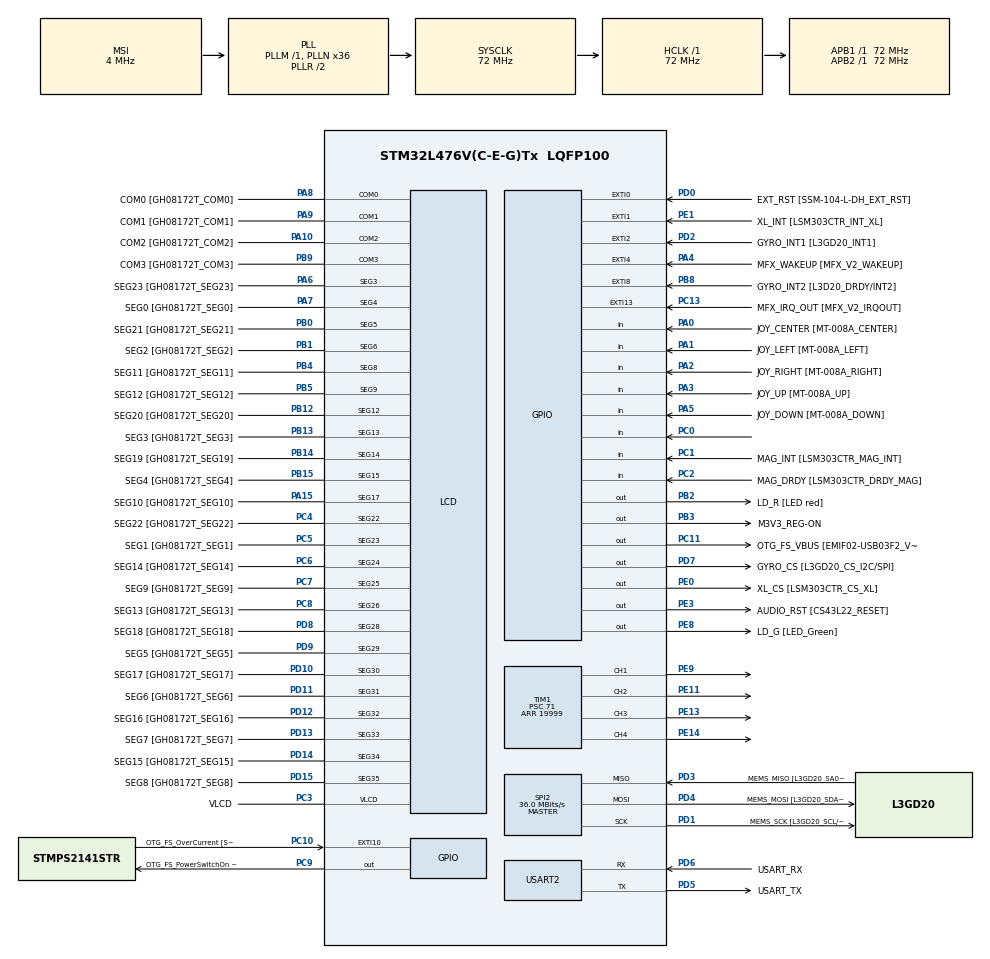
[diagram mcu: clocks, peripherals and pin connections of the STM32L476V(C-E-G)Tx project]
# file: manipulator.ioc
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Mcu.Family=STM32L4
Mcu.Name=STM32L476V(C-E-G)Tx
Mcu.Package=LQFP100
NVIC.PriorityGroup=NVIC_PRIORITYGROUP_4
PA0.GPIO_Label=JOY_CENTER [MT-008A_CENTER]
PA0.GPIO_Mode=GPIO_MODE_INPUT
PA0.GPIO_PuPd=GPIO_PULLDOWN
PA0.Signal=GPIO_Input
PA1.GPIO_Label=JOY_LEFT [MT-008A_LEFT]
PA1.GPIO_Mode=GPIO_MODE_INPUT
PA1.GPIO_PuPd=GPIO_PULLDOWN
PA1.Signal=GPIO_Input
PA10.GPIO_Label=COM2 [GH08172T_COM2]
PA10.GPIO_Mode=GPIO_MODE_AF_PP
PA10.GPIO_PuPd=GPIO_NOPULL
PA10.GPIO_Speed=GPIO_SPEED_FREQ_LOW
PA10.Mode=1/4 Duty Cycle
PA10.Signal=LCD_COM2
PA13\ (JTMS-SWDIO).GPIO_Label=SWDIO
PA13\ (JTMS-SWDIO).Mode=Serial_Wire
PA13\ (JTMS-SWDIO).Signal=SYS_JTMS-SWDIO
PA14\ (JTCK-SWCLK).GPIO_Label=SWCLK
PA14\ (JTCK-SWCLK).Mode=Serial_Wire
PA14\ (JTCK-SWCLK).Signal=SYS_JTCK-SWCLK
PA15\ (JTDI).GPIO_Label=SEG10 [GH08172T_SEG10]
PA15\ (JTDI).GPIO_Mode=GPIO_MODE_AF_PP
PA15\ (JTDI).GPIO_PuPd=GPIO_NOPULL
PA15\ (JTDI).GPIO_Speed=GPIO_SPEED_FREQ_LOW
PA15\ (JTDI).Mode=SEG17
PA15\ (JTDI).Signal=LCD_SEG17
PA2.GPIO_Label=JOY_RIGHT [MT-008A_RIGHT]
PA2.GPIO_Mode=GPIO_MODE_INPUT
PA2.GPIO_PuPd=GPIO_PULLDOWN
PA2.Signal=GPIO_Input
PA3.GPIO_Label=JOY_UP [MT-008A_UP]
PA3.GPIO_Mode=GPIO_MODE_INPUT
PA3.GPIO_PuPd=GPIO_PULLDOWN
PA3.Signal=GPIO_Input
PA4.GPIO_Label=MFX_WAKEUP [MFX_V2_WAKEUP]
PA4.GPIO_ModeDefaultEXTI=GPIO_MODE_EVT_RISING
PA4.GPIO_PuPd=GPIO_NOPULL
PA4.Signal=GPXTI4
PA5.GPIO_Label=JOY_DOWN [MT-008A_DOWN]
PA5.GPIO_Mode=GPIO_MODE_INPUT
PA5.GPIO_PuPd=GPIO_PULLDOWN
PA5.Signal=GPIO_Input
PA6.GPIO_Label=SEG23 [GH08172T_SEG23]
PA6.GPIO_Mode=GPIO_MODE_AF_PP
PA6.GPIO_PuPd=GPIO_NOPULL
PA6.GPIO_Speed=GPIO_SPEED_FREQ_LOW
PA6.Mode=SEG3
PA6.Signal=LCD_SEG3
PA7.GPIO_Label=SEG0 [GH08172T_SEG0]
PA7.GPIO_Mode=GPIO_MODE_AF_PP
PA7.GPIO_PuPd=GPIO_NOPULL
PA7.GPIO_Speed=GPIO_SPEED_FREQ_LOW
PA7.Mode=SEG4
PA7.Signal=LCD_SEG4
PA8.GPIO_Label=COM0 [GH08172T_COM0]
PA8.GPIO_Mode=GPIO_MODE_AF_PP
PA8.GPIO_PuPd=GPIO_NOPULL
PA8.GPIO_Speed=GPIO_SPEED_FREQ_LOW
PA8.Mode=1/4 Duty Cycle
PA8.Signal=LCD_COM0
PA9.GPIO_Label=COM1 [GH08172T_COM1]
PA9.GPIO_Mode=GPIO_MODE_AF_PP
PA9.GPIO_PuPd=GPIO_NOPULL
PA9.GPIO_Speed=GPIO_SPEED_FREQ_LOW
PA9.Mode=1/4 Duty Cycle
PA9.Signal=LCD_COM1
PB0.GPIO_Label=SEG21 [GH08172T_SEG21]
PB0.GPIO_Mode=GPIO_MODE_AF_PP
PB0.GPIO_PuPd=GPIO_NOPULL
PB0.GPIO_Speed=GPIO_SPEED_FREQ_LOW
PB0.Mode=SEG5
PB0.Signal=LCD_SEG5
PB1.GPIO_Label=SEG2 [GH08172T_SEG2]
PB1.GPIO_Mode=GPIO_MODE_AF_PP
PB1.GPIO_PuPd=GPIO_NOPULL
PB1.GPIO_Speed=GPIO_SPEED_FREQ_LOW
PB1.Mode=SEG6
PB1.Signal=LCD_SEG6
PB12.GPIO_Label=SEG20 [GH08172T_SEG20]
PB12.GPIO_Mode=GPIO_MODE_AF_PP
PB12.GPIO_PuPd=GPIO_NOPULL
PB12.GPIO_Speed=GPIO_SPEED_FREQ_LOW
PB12.Mode=SEG12
PB12.Signal=LCD_SEG12
PB13.GPIO_Label=SEG3 [GH08172T_SEG3]
PB13.GPIO_Mode=GPIO_MODE_AF_PP
PB13.GPIO_PuPd=GPIO_NOPULL
PB13.GPIO_Speed=GPIO_SPEED_FREQ_LOW
PB13.Mode=SEG13
PB13.Signal=LCD_SEG13
PB14.GPIO_Label=SEG19 [GH08172T_SEG19]
PB14.GPIO_Mode=GPIO_MODE_AF_PP
PB14.GPIO_PuPd=GPIO_NOPULL
PB14.GPIO_Speed=GPIO_SPEED_FREQ_LOW
PB14.Mode=SEG14
PB14.Signal=LCD_SEG14
PB15.GPIO_Label=SEG4 [GH08172T_SEG4]
PB15.GPIO_Mode=GPIO_MODE_AF_PP
PB15.GPIO_PuPd=GPIO_NOPULL
PB15.GPIO_Speed=GPIO_SPEED_FREQ_LOW
PB15.Mode=SEG15
PB15.Signal=LCD_SEG15
PB2.GPIO_Label=LD_R [LED red]
PB2.GPIO_ModeDefaultOutputPP=GPIO_MODE_OUTPUT_PP
PB2.GPIO_PuPd=GPIO_PULLUP
PB2.GPIO_Speed=GPIO_SPEED_FREQ_VERY_HIGH
PB2.Signal=GPIO_Output
PB3\ (JTDO-TRACESWO).GPIO_Label=M3V3_REG-ON
PB3\ (JTDO-TRACESWO).GPIO_ModeDefaultOutputPP=GPIO_MODE_OUTPUT_PP
PB3\ (JTDO-TRACESWO).GPIO_PuPd=GPIO_NOPULL
PB3\ (JTDO-TRACESWO).GPIO_Speed=GPIO_SPEED_FREQ_LOW
PB3\ (JTDO-TRACESWO).Signal=GPIO_Output
PB4\ (NJTRST).GPIO_Label=SEG11 [GH08172T_SEG11]
PB4\ (NJTRST).GPIO_Mode=GPIO_MODE_AF_PP
PB4\ (NJTRST).GPIO_PuPd=GPIO_NOPULL
PB4\ (NJTRST).GPIO_Speed=GPIO_SPEED_FREQ_LOW
PB4\ (NJTRST).Mode=SEG8
PB4\ (NJTRST).Signal=LCD_SEG8
PB5.GPIO_Label=SEG12 [GH08172T_SEG12]
PB5.GPIO_Mode=GPIO_MODE_AF_PP
PB5.GPIO_PuPd=GPIO_NOPULL
PB5.GPIO_Speed=GPIO_SPEED_FREQ_LOW
PB5.Mode=SEG9
PB5.Signal=LCD_SEG9
PB8.GPIO_Label=GYRO_INT2 [L3D20_DRDY/INT2]
PB8.GPIO_ModeDefaultEXTI=GPIO_MODE_EVT_RISING
PB8.GPIO_PuPd=GPIO_NOPULL
PB8.Signal=GPXTI8
PB9.GPIO_FM9=__NULL
PB9.GPIO_Label=COM3 [GH08172T_COM3]
PB9.GPIO_Mode=GPIO_MODE_AF_PP
PB9.GPIO_PuPd=GPIO_NOPULL
PB9.GPIO_Speed=GPIO_SPEED_FREQ_LOW
PB9.Mode=1/4 Duty Cycle
PB9.Signal=LCD_COM3
PC0.Signal=GPIO_Input
PC1.GPIO_Label=MAG_INT [LSM303CTR_MAG_INT]
PC1.GPIO_Mode=GPIO_MODE_INPUT
PC1.GPIO_PuPd=GPIO_NOPULL
PC1.Signal=GPIO_Input
PC10.GPIO_Label=OTG_FS_OverCurrent [STMPS2141STR_FAULT]
PC10.GPIO_ModeDefaultEXTI=GPIO_MODE_EVT_RISING
PC10.GPIO_PuPd=GPIO_NOPULL
PC10.Signal=GPXTI10
PC11.GPIO_Label=OTG_FS_VBUS [EMIF02-USB03F2_Vbus]
PC11.GPIO_ModeDefaultOutputPP=GPIO_MODE_OUTPUT_PP
PC11.GPIO_PuPd=GPIO_NOPULL
PC11.GPIO_Speed=GPIO_SPEED_FREQ_LOW
PC11.Signal=GPIO_Output
PC13.GPIO_Label=MFX_IRQ_OUT [MFX_V2_IRQOUT]
PC13.GPIO_ModeDefaultEXTI=GPIO_MODE_EVT_RISING
PC13.GPIO_PuPd=GPIO_NOPULL
PC13.Signal=GPXTI13
PC14-OSC32_IN\ (PC14).Mode=LSE-External-Oscillator
PC14-OSC32_IN\ (PC14).Signal=RCC_OSC32_IN
PC15-OSC32_OUT\ (PC15).Mode=LSE-External-Oscillator
PC15-OSC32_OUT\ (PC15).Signal=RCC_OSC32_OUT
PC2.GPIO_Label=MAG_DRDY [LSM303CTR_DRDY_MAG]
PC2.GPIO_Mode=GPIO_MODE_INPUT
PC2.GPIO_PuPd=GPIO_NOPULL
PC2.Signal=GPIO_Input
PC3.GPIO_Label=VLCD
PC3.GPIO_Mode=GPIO_MODE_AF_PP
PC3.GPIO_PuPd=GPIO_NOPULL
PC3.GPIO_Speed=GPIO_SPEED_FREQ_LOW
PC3.Mode=1/4 Duty Cycle
PC3.Signal=LCD_VLCD
PC4.GPIO_Label=SEG22 [GH08172T_SEG22]
PC4.GPIO_Mode=GPIO_MODE_AF_PP
PC4.GPIO_PuPd=GPIO_NOPULL
PC4.GPIO_Speed=GPIO_SPEED_FREQ_LOW
PC4.Mode=SEG22
PC4.Signal=LCD_SEG22
PC5.GPIO_Label=SEG1 [GH08172T_SEG1]
PC5.GPIO_Mode=GPIO_MODE_AF_PP
PC5.GPIO_PuPd=GPIO_NOPULL
PC5.GPIO_Speed=GPIO_SPEED_FREQ_LOW
PC5.Mode=SEG23
PC5.Signal=LCD_SEG23
PC6.GPIO_Label=SEG14 [GH08172T_SEG14]
PC6.GPIO_Mode=GPIO_MODE_AF_PP
PC6.GPIO_PuPd=GPIO_NOPULL
PC6.GPIO_Speed=GPIO_SPEED_FREQ_LOW
PC6.Mode=SEG24
PC6.Signal=LCD_SEG24
PC7.GPIO_Label=SEG9 [GH08172T_SEG9]
PC7.GPIO_Mode=GPIO_MODE_AF_PP
PC7.GPIO_PuPd=GPIO_NOPULL
PC7.GPIO_Speed=GPIO_SPEED_FREQ_LOW
PC7.Mode=SEG25
PC7.Signal=LCD_SEG25
PC8.GPIO_Label=SEG13 [GH08172T_SEG13]
PC8.GPIO_Mode=GPIO_MODE_AF_PP
PC8.GPIO_PuPd=GPIO_NOPULL
PC8.GPIO_Speed=GPIO_SPEED_FREQ_LOW
PC8.Mode=SEG26
PC8.Signal=LCD_SEG26
PC9.GPIO_Label=OTG_FS_PowerSwitchOn [STMPS2141STR_EN]
PC9.GPIO_ModeDefaultOutputPP=GPIO_MODE_OUTPUT_PP
PC9.GPIO_PuPd=GPIO_NOPULL
PC9.GPIO_Speed=GPIO_SPEED_FREQ_LOW
PC9.PinState=GPIO_PIN_SET
PC9.Signal=GPIO_Output
PD0.GPIO_Label=EXT_RST [SSM-104-L-DH_EXT_RST]
PD0.GPIO_ModeDefaultEXTI=GPIO_MODE_EVT_RISING
PD0.GPIO_PuPd=GPIO_NOPULL
PD0.Signal=GPXTI0
PD1.GPIO_Label=MEMS_SCK [L3GD20_SCL/SPC]
PD1.GPIO_Mode=GPIO_MODE_AF_PP
PD1.GPIO_PuPd=GPIO_NOPULL
PD1.GPIO_Speed=GPIO_SPEED_FREQ_VERY_HIGH
PD1.Mode=Full_Duplex_Master
PD1.Signal=SPI2_SCK
PD10.GPIO_Label=SEG17 [GH08172T_SEG17]
PD10.GPIO_Mode=GPIO_MODE_AF_PP
PD10.GPIO_PuPd=GPIO_NOPULL
PD10.GPIO_Speed=GPIO_SPEED_FREQ_LOW
PD10.Mode=SEG30
PD10.Signal=LCD_SEG30
PD11.GPIO_Label=SEG6 [GH08172T_SEG6]
PD11.GPIO_Mode=GPIO_MODE_AF_PP
PD11.GPIO_PuPd=GPIO_NOPULL
PD11.GPIO_Speed=GPIO_SPEED_FREQ_LOW
PD11.Mode=SEG31
PD11.Signal=LCD_SEG31
PD12.GPIO_Label=SEG16 [GH08172T_SEG16]
PD12.GPIO_Mode=GPIO_MODE_AF_PP
PD12.GPIO_PuPd=GPIO_NOPULL
PD12.GPIO_Speed=GPIO_SPEED_FREQ_LOW
PD12.Mode=SEG32
PD12.Signal=LCD_SEG32
PD13.GPIO_Label=SEG7 [GH08172T_SEG7]
PD13.GPIO_Mode=GPIO_MODE_AF_PP
PD13.GPIO_PuPd=GPIO_NOPULL
PD13.GPIO_Speed=GPIO_SPEED_FREQ_LOW
PD13.Mode=SEG33
PD13.Signal=LCD_SEG33
PD14.GPIO_Label=SEG15 [GH08172T_SEG15]
PD14.GPIO_Mode=GPIO_MODE_AF_PP
PD14.GPIO_PuPd=GPIO_NOPULL
PD14.GPIO_Speed=GPIO_SPEED_FREQ_LOW
PD14.Mode=SEG34
PD14.Signal=LCD_SEG34
PD15.GPIO_Label=SEG8 [GH08172T_SEG8]
PD15.GPIO_Mode=GPIO_MODE_AF_PP
PD15.GPIO_PuPd=GPIO_NOPULL
PD15.GPIO_Speed=GPIO_SPEED_FREQ_LOW
PD15.Mode=SEG35
PD15.Signal=LCD_SEG35
PD2.GPIO_Label=GYRO_INT1 [L3GD20_INT1]
PD2.GPIO_ModeDefaultEXTI=GPIO_MODE_EVT_RISING
PD2.GPIO_PuPd=GPIO_NOPULL
PD2.Signal=GPXTI2
PD3.GPIO_Label=MEMS_MISO [L3GD20_SA0/SDO]
PD3.GPIO_Mode=GPIO_MODE_AF_PP
PD3.GPIO_PuPd=GPIO_NOPULL
PD3.GPIO_Speed=GPIO_SPEED_FREQ_VERY_HIGH
PD3.Mode=Full_Duplex_Master
PD3.Signal=SPI2_MISO
PD4.GPIO_Label=MEMS_MOSI [L3GD20_SDA/SDI/SDO]
PD4.GPIO_Mode=GPIO_MODE_AF_PP
PD4.GPIO_PuPd=GPIO_NOPULL
PD4.GPIO_Speed=GPIO_SPEED_FREQ_VERY_HIGH
PD4.Mode=Full_Duplex_Master
PD4.Signal=SPI2_MOSI
PD5.GPIO_Label=USART_TX
PD5.GPIO_Mode=GPIO_MODE_AF_PP
PD5.GPIO_PuPd=GPIO_PULLUP
PD5.GPIO_Speed=GPIO_SPEED_FREQ_VERY_HIGH
PD5.Mode=Asynchronous
PD5.Signal=USART2_TX
PD6.GPIO_Label=USART_RX
PD6.GPIO_Mode=GPIO_MODE_AF_PP
PD6.GPIO_PuPd=GPIO_PULLUP
PD6.GPIO_Speed=GPIO_SPEED_FREQ_VERY_HIGH
PD6.Mode=Asynchronous
PD6.Signal=USART2_RX
PD7.GPIO_Label=GYRO_CS [L3GD20_CS_I2C/SPI]
PD7.GPIO_ModeDefaultOutputPP=GPIO_MODE_OUTPUT_PP
PD7.GPIO_PuPd=GPIO_NOPULL
PD7.GPIO_Speed=GPIO_SPEED_FREQ_VERY_HIGH
PD7.Signal=GPIO_Output
PD8.GPIO_Label=SEG18 [GH08172T_SEG18]
PD8.GPIO_Mode=GPIO_MODE_AF_PP
PD8.GPIO_PuPd=GPIO_NOPULL
PD8.GPIO_Speed=GPIO_SPEED_FREQ_LOW
PD8.Mode=SEG28
PD8.Signal=LCD_SEG28
PD9.GPIO_Label=SEG5 [GH08172T_SEG5]
PD9.GPIO_Mode=GPIO_MODE_AF_PP
PD9.GPIO_PuPd=GPIO_NOPULL
PD9.GPIO_Speed=GPIO_SPEED_FREQ_LOW
PD9.Mode=SEG29
PD9.Signal=LCD_SEG29
PE0.GPIO_Label=XL_CS [LSM303CTR_CS_XL]
PE0.GPIO_ModeDefaultOutputPP=GPIO_MODE_OUTPUT_PP
PE0.GPIO_PuPd=GPIO_NOPULL
PE0.GPIO_Speed=GPIO_SPEED_FREQ_LOW
PE0.Signal=GPIO_Output
PE1.GPIO_Label=XL_INT [LSM303CTR_INT_XL]
PE1.GPIO_ModeDefaultEXTI=GPIO_MODE_EVT_RISING
PE1.GPIO_PuPd=GPIO_NOPULL
PE1.Signal=GPXTI1
PE11.Signal=S_TIM1_CH2
PE13.Signal=S_TIM1_CH3
PE14.Signal=S_TIM1_CH4
PE3.GPIO_Label=AUDIO_RST [CS43L22_RESET]
PE3.GPIO_ModeDefaultOutputPP=GPIO_MODE_OUTPUT_PP
PE3.GPIO_PuPd=GPIO_NOPULL
PE3.GPIO_Speed=GPIO_SPEED_FREQ_HIGH
PE3.Signal=GPIO_Output
PE8.GPIO_Label=LD_G [LED_Green]
PE8.GPIO_ModeDefaultOutputPP=GPIO_MODE_OUTPUT_PP
PE8.GPIO_PuPd=GPIO_PULLUP
PE8.GPIO_Speed=GPIO_SPEED_FREQ_VERY_HIGH
PE8.Signal=GPIO_Output
PE9.Signal=S_TIM1_CH1
PH0-OSC_IN\ (PH0).Mode=HSE-External-Oscillator
PH0-OSC_IN\ (PH0).Signal=RCC_OSC_IN
PH1-OSC_OUT\ (PH1).Mode=HSE-External-Oscillator
PH1-OSC_OUT\ (PH1).Signal=RCC_OSC_OUT
ProjectManager.HeapSize=0x200
ProjectManager.StackSize=0x400
ProjectManager.TargetToolchain=STM32CubeIDE
RCC.ADCFreq_Value=48000000
RCC.AHBFreq_Value=72000000
RCC.APB1Freq_Value=72000000
RCC.APB1TimFreq_Value=72000000
RCC.APB2Freq_Value=72000000
RCC.APB2TimFreq_Value=72000000
RCC.CortexFreq_Value=72000000
RCC.HCLKFreq_Value=72000000
RCC.HSE_VALUE=8000000
RCC.HSI_VALUE=16000000
RCC.MSI_VALUE=4000000
RCC.PLLN=36
RCC.PLLSAI1N=24
RCC.PREFETCH_ENABLE=1
RCC.SYSCLKFreq_VALUE=72000000
RCC.SYSCLKSource=RCC_SYSCLKSOURCE_PLLCLK
RCC.USBFreq_Value=48000000
RCC.VCOOutputFreq_Value=144000000
SH.S_TIM1_CH1.0=TIM1_CH1,PWM Generation1 CH1
SH.S_TIM1_CH2.0=TIM1_CH2,PWM Generation2 CH2
SH.S_TIM1_CH3.0=TIM1_CH3,PWM Generation3 CH3
SH.S_TIM1_CH4.0=TIM1_CH4,PWM Generation4 CH4
SPI2.CalculateBaudRate=36.0 MBits/s
SPI2.Direction=SPI_DIRECTION_2LINES
SPI2.Mode=SPI_MODE_MASTER
SPI2.VirtualType=VM_MASTER
TIM1.AutoReloadPreload=TIM_AUTORELOAD_PRELOAD_ENABLE
TIM1.Channel-PWM\ Generation1\ CH1=TIM_CHANNEL_1
TIM1.Channel-PWM\ Generation2\ CH2=TIM_CHANNEL_2
TIM1.Channel-PWM\ Generation3\ CH3=TIM_CHANNEL_3
TIM1.Channel-PWM\ Generation4\ CH4=TIM_CHANNEL_4
TIM1.Period=19999
TIM1.Prescaler=71
USART2.VirtualMode-Asynchronous=VM_ASYNC
board=STM32L476G-DISCO

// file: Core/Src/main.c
/* USER CODE BEGIN Header */
/**
  ******************************************************************************
  * @file           : main.c
  * @brief          : Main program body
  ******************************************************************************
  * @attention
  *
  * <h2><center>&copy; Copyright (c) 2024 STMicroelectronics.
  * All rights reserved.</center></h2>
  *
  * This software component is licensed by ST under Ultimate Liberty license
  * SLA0044, the "License"; You may not use this file except in compliance with
  * the License. You may obtain a copy of the License at:
  *                             www.st.com/SLA0044
  *
  ******************************************************************************
  */
/* USER CODE END Header */
#include "main.h"
#include "lcd.h"
#include "spi.h"
#include "tim.h"
#include "usart.h"
#include "gpio.h"

/* USER CODE BEGIN Includes */
#include "stm32l476g_discovery_glass_lcd.h"
#include "stm32l476g_discovery_compass.h"
#include "stdint.h"
#include "stdio.h"
#include "string.h"
/* USER CODE END Includes */

/* USER CODE BEGIN PM */
#define MIDDLE HAL_GPIO_ReadPin(GPIOA, GPIO_PIN_0)
#define LEFT HAL_GPIO_ReadPin(GPIOA, GPIO_PIN_1)
#define RIGHT HAL_GPIO_ReadPin(GPIOA, GPIO_PIN_2)
#define UP HAL_GPIO_ReadPin(GPIOA, GPIO_PIN_3)
#define DOWN HAL_GPIO_ReadPin(GPIOA, GPIO_PIN_5)
/* USER CODE END PM */

/* USER CODE BEGIN PV */
int16_t pDataXYZ[3];
uint8_t click;
int last;
int odczyt[4], current[4];
char buf[16];
/* USER CODE END PV */

void SystemClock_Config(void);

/* USER CODE BEGIN 0 */

int _write(int file, char *ptr, int len){
	HAL_UART_Transmit(&huart2, (uint8_t*)ptr, len, 50);
	return len;
}

/* USER CODE END 0 */

int main(void)
{

  /* MCU Configuration--------------------------------------------------------*/

  /* Reset of all peripherals, Initializes the Flash interface and the Systick. */
  HAL_Init();

  /* Configure the system clock */
  SystemClock_Config();

  /* Initialize all configured peripherals */
  MX_GPIO_Init();
  MX_LCD_Init();
  MX_SPI2_Init();
  MX_USART2_UART_Init();
  MX_TIM1_Init();
  /* USER CODE BEGIN 2 */
  BSP_LCD_GLASS_Init();
  BSP_COMPASS_Init();
  //HAL_TIM_PWM_Start(&htim1, TIM_CHANNEL_1);
  //HAL_TIM_PWM_Start(&htim1, TIM_CHANNEL_2);
  //HAL_TIM_PWM_Start(&htim1, TIM_CHANNEL_3);
  HAL_TIM_PWM_Start(&htim1, TIM_CHANNEL_4);

  /* USER CODE END 2 */

  /* Infinite loop */
  while (1)
  {

    /* USER CODE BEGIN 3 */

	   /*
	    * accelerometer
	    */

	  	BSP_COMPASS_AccGetXYZ(pDataXYZ);

	   /*
	    * LCD display
	    */

	  	last = HAL_GetTick();

	  	if(UP == GPIO_PIN_SET){odczyt[0] = 1;}
	  		if(!(UP == GPIO_PIN_SET) && odczyt[0] == 1){
	  			odczyt[0] = 0;
	  			current[0] = HAL_GetTick();
	  			if((current[0] - last) < 50){
	  				click++;
	  				last = current[0];
	  			}
	  		}

	  	last = HAL_GetTick();

		if(DOWN == GPIO_PIN_SET){odczyt[1] = 1;}
			if(!(DOWN == GPIO_PIN_SET) && odczyt[1] == 1){
				odczyt[1] = 0;
				current[1] = HAL_GetTick();
				if((current[1] - last) < 50){
					click--;
					last = current[1];
				}
			}

		BSP_LCD_GLASS_Clear();
		switch(click%3){
		  case 0:
			sprintf(buf, "X%d", pDataXYZ[0]);
			BSP_LCD_GLASS_DisplayString((uint8_t*)&buf);
			break;
		  case 1:
		    sprintf(buf, "Y%d", pDataXYZ[1]);
			BSP_LCD_GLASS_DisplayString((uint8_t*)&buf);
			break;
		  case 2:
			sprintf(buf, "Z%d", pDataXYZ[2]);
			BSP_LCD_GLASS_DisplayString((uint8_t*)&buf);
			break;
		}

		HAL_Delay(250);

	    /*
	     * Actuators - joints
	     */

	    // first one
	    //__HAL_TIM_SET_COMPARE(&htim1, TIM_CHANNEL_1, 1000);

	    // second one
	    /*__HAL_TIM_SET_COMPARE(&htim1, TIM_CHANNEL_2, 1000);
	    HAL_Delay(2000);
	    __HAL_TIM_SET_COMPARE(&htim1, TIM_CHANNEL_2, 1500);
	 	HAL_Delay(2000);*/

	    // third one
	    /*__HAL_TIM_SET_COMPARE(&htim1, TIM_CHANNEL_3, 1000);
	    HAL_Delay(2000);
	    __HAL_TIM_SET_COMPARE(&htim1, TIM_CHANNEL_3, 1700);
	    HAL_Delay(2000);*/

	    /*
	     * End effector
	     */

		last = HAL_GetTick();

		if(RIGHT == GPIO_PIN_SET){odczyt[2] = 1;}
				if(!(RIGHT == GPIO_PIN_SET) && odczyt[2] == 1){
					odczyt[2] = 0;
					current[2] = HAL_GetTick();
					if((current[2] - last) < 50){
						__HAL_TIM_SET_COMPARE(&htim1, TIM_CHANNEL_4, 500);
						HAL_Delay(250);
						last = current[2];
					}
				}

		last = HAL_GetTick();

		if(LEFT == GPIO_PIN_SET){odczyt[3] = 1;}
				if(!(LEFT == GPIO_PIN_SET) && odczyt[3] == 1){
					odczyt[3] = 0;
					current[3] = HAL_GetTick();
					if((current[3] - last) < 50){
						__HAL_TIM_SET_COMPARE(&htim1, TIM_CHANNEL_4, 2500);
						HAL_Delay(250);
						last = current[3];
					}
				}

  }
  /* USER CODE END 3 */
}

void SystemClock_Config(void)
{
  RCC_OscInitTypeDef RCC_OscInitStruct = {0};
  RCC_ClkInitTypeDef RCC_ClkInitStruct = {0};
  RCC_PeriphCLKInitTypeDef PeriphClkInit = {0};

  /** Configure LSE Drive Capability
  */
  HAL_PWR_EnableBkUpAccess();
  __HAL_RCC_LSEDRIVE_CONFIG(RCC_LSEDRIVE_LOW);
  /** Initializes the RCC Oscillators according to the specified parameters
  * in the RCC_OscInitTypeDef structure.
  */
  RCC_OscInitStruct.OscillatorType = RCC_OSCILLATORTYPE_LSI|RCC_OSCILLATORTYPE_LSE
                              |RCC_OSCILLATORTYPE_MSI;
  RCC_OscInitStruct.LSEState = RCC_LSE_ON;
  RCC_OscInitStruct.LSIState = RCC_LSI_ON;
  RCC_OscInitStruct.MSIState = RCC_MSI_ON;
  RCC_OscInitStruct.MSICalibrationValue = 0;
  RCC_OscInitStruct.MSIClockRange = RCC_MSIRANGE_6;
  RCC_OscInitStruct.PLL.PLLState = RCC_PLL_ON;
  RCC_OscInitStruct.PLL.PLLSource = RCC_PLLSOURCE_MSI;
  RCC_OscInitStruct.PLL.PLLM = 1;
  RCC_OscInitStruct.PLL.PLLN = 36;
  RCC_OscInitStruct.PLL.PLLP = RCC_PLLP_DIV7;
  RCC_OscInitStruct.PLL.PLLQ = RCC_PLLQ_DIV2;
  RCC_OscInitStruct.PLL.PLLR = RCC_PLLR_DIV2;
  if (HAL_RCC_OscConfig(&RCC_OscInitStruct) != HAL_OK)
  {
    Error_Handler();
  }
  /** Initializes the CPU, AHB and APB buses clocks
  */
  RCC_ClkInitStruct.ClockType = RCC_CLOCKTYPE_HCLK|RCC_CLOCKTYPE_SYSCLK
                              |RCC_CLOCKTYPE_PCLK1|RCC_CLOCKTYPE_PCLK2;
  RCC_ClkInitStruct.SYSCLKSource = RCC_SYSCLKSOURCE_PLLCLK;
  RCC_ClkInitStruct.AHBCLKDivider = RCC_SYSCLK_DIV1;
  RCC_ClkInitStruct.APB1CLKDivider = RCC_HCLK_DIV1;
  RCC_ClkInitStruct.APB2CLKDivider = RCC_HCLK_DIV1;

  if (HAL_RCC_ClockConfig(&RCC_ClkInitStruct, FLASH_LATENCY_4) != HAL_OK)
  {
    Error_Handler();
  }
  PeriphClkInit.PeriphClockSelection = RCC_PERIPHCLK_RTC|RCC_PERIPHCLK_USART2;
  PeriphClkInit.Usart2ClockSelection = RCC_USART2CLKSOURCE_PCLK1;
  PeriphClkInit.RTCClockSelection = RCC_RTCCLKSOURCE_LSI;
  if (HAL_RCCEx_PeriphCLKConfig(&PeriphClkInit) != HAL_OK)
  {
    Error_Handler();
  }
  /** Configure the main internal regulator output voltage
  */
  if (HAL_PWREx_ControlVoltageScaling(PWR_REGULATOR_VOLTAGE_SCALE1) != HAL_OK)
  {
    Error_Handler();
  }
  /** Enable MSI Auto calibration
  */
  HAL_RCCEx_EnableMSIPLLMode();
}

void Error_Handler(void)
{
}

/************************ (C) COPYRIGHT STMicroelectronics *****END OF FILE****/
